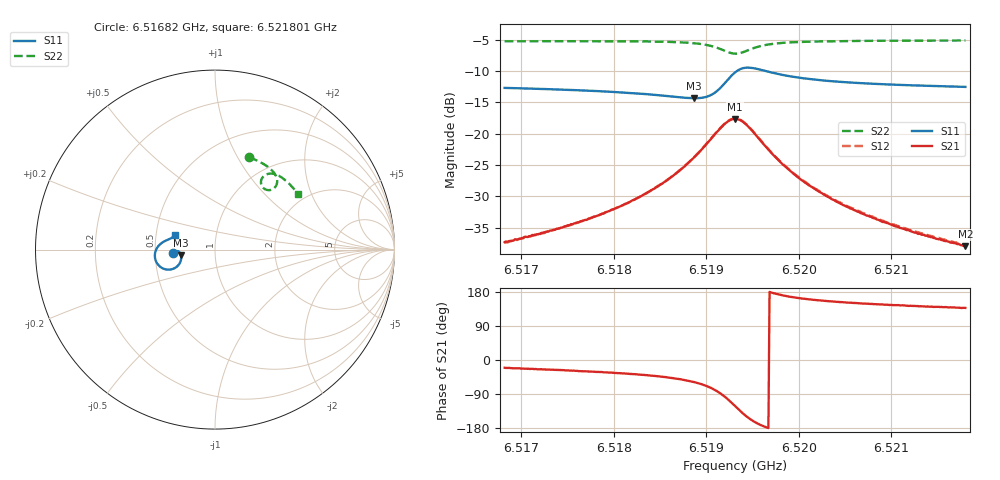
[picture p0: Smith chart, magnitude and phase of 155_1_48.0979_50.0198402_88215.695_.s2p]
#  HZ  S  RI  R  50.00
! Rohde & Schwarz Vector Network Analyzer
! Rohde-Schwarz,ZNB20-2Port,1311601062101988,3.16
! Created: UTC 12/23/2023, 3:50:10 AM
! freq[Hz]  re:S11  im:S11  re:S21  im:S21  re:S12  im:S12  re:S22  im:S22
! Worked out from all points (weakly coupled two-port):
!   401 points, 6.51682 GHz to 6.521801 GHz, reference 50 ohm
!   highest |S21| = -17.63 dB at 6.51931 GHz (marker M1); lowest = -38.0 dB at 6.521801 GHz (marker M2)
!   lowest |S11| = -14.3 dB at 6.518862 GHz (marker M3), VSWR 1.48, Z = 34 - j2.32 ohm
!   |S11| at or under -10 dB: start of sweep to 6.519329 GHz; 6.519647 GHz to end of sweep
!   |S22| runs from -7.2 to -5.1 dB; largest |S21 - S12| = 0.0041
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6.5168203e9  -0.2315 -0.0205  0.0127 -0.00476  0.0127 -0.00436  0.1906 0.5138
6.5171814e9  -0.2278 -0.0149  0.0143 -0.00655  0.0145 -0.00606  0.2173 0.5035
6.5176545e9  -0.2218 -0.00901  0.0175 -0.00981  0.0178 -0.00917  0.2523 0.4869
6.5181277e9  -0.2128 -0.00618  0.0224 -0.0161  0.0229 -0.0153  0.2879 0.4655
6.5184887e9  -0.2028 -0.00985  0.0281 -0.0263  0.029 -0.0256  0.3157 0.4432
6.5186879e9  -0.1955 -0.0177  0.032 -0.0374  0.0333 -0.0366  0.3311 0.4254
6.5188623e9  -0.1893 -0.0329  0.0341 -0.0543  0.0359 -0.0535  0.3428 0.4032
6.5189868e9  -0.1887 -0.0528  0.031 -0.0738  0.0335 -0.0734  0.3465 0.3808
6.5190739e9  -0.1952 -0.0732  0.022 -0.0926  0.025 -0.0925  0.3425 0.3609
6.5192109e9  -0.2353 -0.1078  -0.0192 -0.1203  -0.0157 -0.1216  0.3122 0.333
6.5192607e9  -0.2618 -0.1116  -0.0436 -0.1211  -0.0403 -0.1232  0.2933 0.3316
6.5193105e9  -0.2904 -0.1048  -0.0685 -0.112  -0.0657 -0.115  0.2747 0.339
6.5193603e9  -0.3144 -0.0873  -0.0881 -0.0943  -0.086 -0.0975  0.2613 0.354
6.5194225e9  -0.3317 -0.0574  -0.1 -0.0665  -0.0989 -0.0698  0.2561 0.3768
6.5195346e9  -0.3314 -0.00897  -0.0946 -0.0252  -0.0945 -0.0282  0.2702 0.4081
6.5196342e9  -0.3176 0.0172  -0.08 -0.0051  -0.0805 -0.00768  0.29 0.4204
6.5198708e9  -0.2874 0.0431  -0.0521 0.0108  -0.0529 0.00934  0.3294 0.4215
6.5201447e9  -0.2668 0.0535  -0.035 0.0133  -0.0357 0.0124  0.3598 0.4091
6.5205306e9  -0.2501 0.0607  -0.0228 0.0123  -0.0234 0.0119  0.3906 0.3877
6.5209789e9  -0.2381 0.0674  -0.0157 0.0109  -0.0163 0.0105  0.4189 0.3613
6.5213026e9  -0.2315 0.072  -0.0124 0.0099  -0.013 0.00966  0.4367 0.3417
6.5218006e9  -0.2231 0.0788  -0.00931 0.00855  -0.00978 0.00858  0.4611 0.3108
